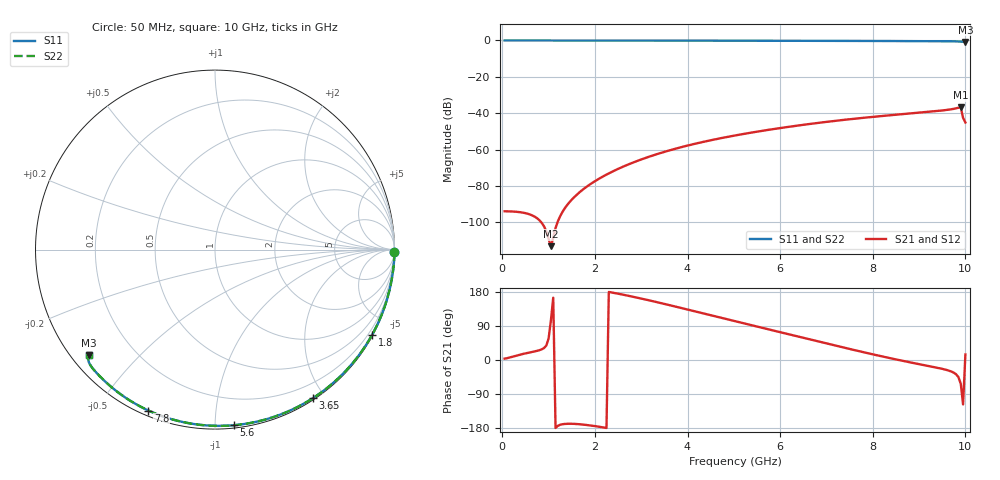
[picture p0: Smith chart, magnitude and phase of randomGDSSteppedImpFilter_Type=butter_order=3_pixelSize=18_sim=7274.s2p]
! freq	dB(S11)	phase(S11)	dB(S12)	phase(S12)
!  dB(S21)	phase(S21)	dB(S22)	phase(S22)
!S-par simulation data
#  GHz  S  DB  R 50
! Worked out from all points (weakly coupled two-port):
!   200 points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, 50 MHz to 10 GHz, reference 50 ohm
!   highest |S21| = -36.83 dB at 9.9 GHz (marker M1); lowest = -113.0 dB at 1.05 GHz (marker M2)
!   lowest |S11| = -0.8 dB at 10 GHz (marker M3), VSWR 22.95, Z = 2.47 - j18.1 ohm
!   |S11| at or under -10 dB: nowhere
!   |S22| runs from -0.8 to 0.0 dB; largest |S21 - S12| = 0
!   S11 on the Smith chart (normalised r, x): 50 MHz: open; 1.8 GHz: 0.03, -3.92; 3.65 GHz: 0.02, -1.86; 5.6 GHz: 0.02, -1.11; 7.8 GHz: 0.02, -0.67; 10 GHz: 0.05, -0.36
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0.05  -0.00 -0.8  -93.86 3.6  -93.86 3.6  -0.00 -0.8
0.55  -0.01 -8.9  -95.22 18.8  -95.22 18.8  -0.01 -8.9
1.05  -0.02 -16.8  -113.03 104.9  -113.03 104.9  -0.02 -16.8
1.75  -0.04 -27.8  -81.73 -170.5  -81.73 -170.5  -0.04 -27.8
1.8  -0.04 -28.6  -80.76 -171.2  -80.76 -171.2  -0.04 -28.6
1.85  -0.04 -29.4  -79.85 -171.9  -79.85 -171.9  -0.04 -29.4
2.15  -0.04 -34.0  -75.07 -177.3  -75.07 -177.3  -0.04 -34.0
2.55  -0.05 -40.1  -69.99 173.8  -69.99 173.8  -0.05 -40.1
2.95  -0.06 -46.2  -65.85 163.5  -65.85 163.5  -0.06 -46.2
3.4  -0.07 -52.9  -61.98 150.9  -61.98 150.9  -0.07 -52.9
3.65  -0.08 -56.6  -60.11 143.6  -60.11 143.6  -0.08 -56.6
4.3  -0.09 -65.9  -55.95 124.2  -55.95 124.2  -0.09 -65.9
5.05  -0.12 -76.5  -52.09 101.7  -52.09 101.7  -0.12 -76.5
5.6  -0.14 -84.0  -49.70 85.3  -49.70 85.3  -0.14 -84.0
6.7  -0.19 -98.5  -45.68 52.6  -45.68 52.6  -0.19 -98.5
7.8  -0.26 -112.5  -42.49 20.6  -42.49 20.6  -0.26 -112.5
8.35  -0.31 -119.3  -41.16 5.5  -41.16 5.5  -0.31 -119.4
9.5  -0.42 -133.8  -38.47 -23.3  -38.47 -23.3  -0.42 -133.8
9.8  -0.52 -138.2  -37.30 -37.8  -37.30 -37.8  -0.53 -138.3
9.9  -0.65 -139.6  -36.83 -62.8  -36.83 -62.8  -0.68 -139.6
9.95  -0.72 -139.9  -42.51 -117.3  -42.51 -117.3  -0.75 -139.8
10  -0.76 -140.1  -45.07 14.7  -45.07 14.7  -0.77 -139.9
